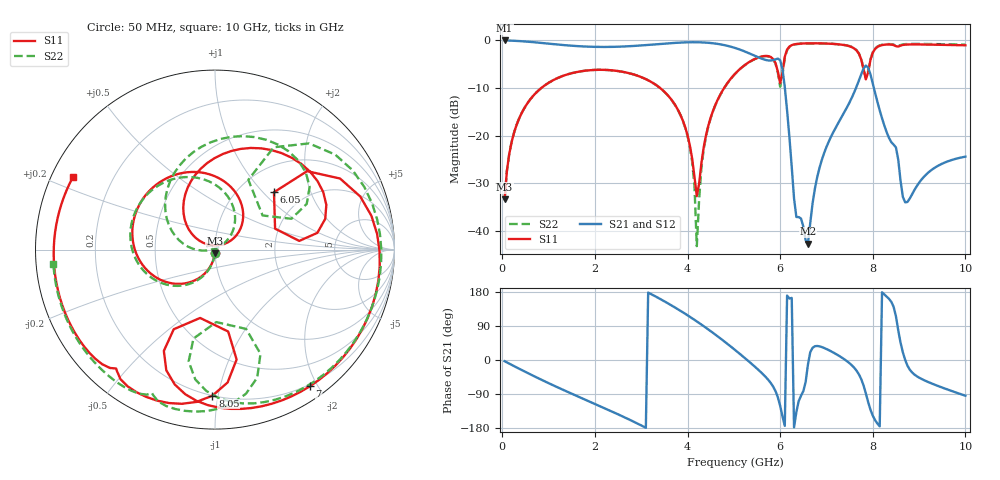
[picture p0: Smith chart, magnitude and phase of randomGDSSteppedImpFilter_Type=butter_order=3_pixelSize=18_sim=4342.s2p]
! freq	dB(S11)	phase(S11)	dB(S12)	phase(S12)
!  dB(S21)	phase(S21)	dB(S22)	phase(S22)
!S-par simulation data
#  GHz  S  DB  R 50
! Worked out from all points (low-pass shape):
!   200 points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, 50 MHz to 10 GHz, reference 50 ohm
!   highest |S21| = -0.01 dB at 50 MHz (marker M1); lowest = -42.7 dB at 6.6 GHz (marker M2)
!   |S21| within 3 dB of the highest: start of sweep to 5.402 GHz
!   lowest |S11| = -33.3 dB at 50 MHz (marker M3), VSWR 1.04, Z = 49.8 - j2.14 ohm
!   |S11| at or under -10 dB: start of sweep to 842.6 MHz; 3.408 GHz to 4.79 GHz (1.382 GHz wide, 33.7 % of centre)
!   |S22| runs from -43.2 to -0.6 dB; largest |S21 - S12| = 0
!   S11 on the Smith chart (normalised r, x): 50 MHz: 1.00, -0.04; 6.05 GHz: 1.43, +1.16; 7 GHz: 0.18, -1.90; 8.05 GHz: 0.20, -0.96; 10 GHz: 0.06, +0.24
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0.05  -33.35 -93.3  -0.01 -3.2  -0.01 -3.2  -33.35 -93.1
0.5  -13.84 -122.9  -0.23 -31.4  -0.23 -31.4  -13.83 -120.9
1.75  -6.41 163.4  -1.27 -102.5  -1.27 -102.5  -6.41 170.6
3.4  -9.93 65.6  -0.75 161.7  -0.75 161.7  -9.94 79.5
4  -19.92 29.7  -0.40 118.0  -0.40 118.0  -20.10 39.4
4.15  -28.68 44.2  -0.38 106.0  -0.38 106.0  -30.61 35.3
4.2  -32.71 80.2  -0.39 101.9  -0.39 101.9  -43.21 70.7
4.4  -19.87 150.2  -0.47 84.9  -0.47 84.9  -20.13 -178.7
5.05  -6.77 99.8  -1.66 24.1  -1.66 24.1  -6.81 123.1
5.55  -3.52 50.1  -3.64 -28.3  -3.64 -28.3  -3.55 70.7
5.9  -4.77 9.3  -3.97 -82.2  -3.97 -82.2  -4.87 26.5
6.05  -6.77 44.2  -6.00 -148.9  -6.00 -148.9  -7.31 64.5
6.35  -0.76 -0.4  -37.09 -137.3  -37.09 -137.3  -0.80 16.4
6.6  -0.61 -24.2  -42.71 -12.2  -42.71 -12.2  -0.63 -9.1
6.7  -0.60 -32.5  -34.22 32.1  -34.22 32.1  -0.62 -17.8
7  -0.66 -55.3  -22.38 29.0  -22.38 29.0  -0.66 -41.8
7.55  -1.42 -97.0  -11.97 -14.2  -11.97 -14.2  -1.39 -84.1
7.85  -8.19 -102.3  -5.29 -87.9  -5.29 -87.9  -7.87 -89.0
8.05  -1.79 -91.0  -10.99 -158.7  -10.99 -158.7  -1.71 -77.9
8.35  -0.85 -118.8  -20.47 161.5  -20.47 161.5  -0.77 -103.9
8.7  -0.89 -137.6  -34.01 0.0  -34.01 0.0  -0.78 -120.5
10  -1.02 153.0  -24.42 -94.3  -24.42 -94.3  -0.88 -175.1
